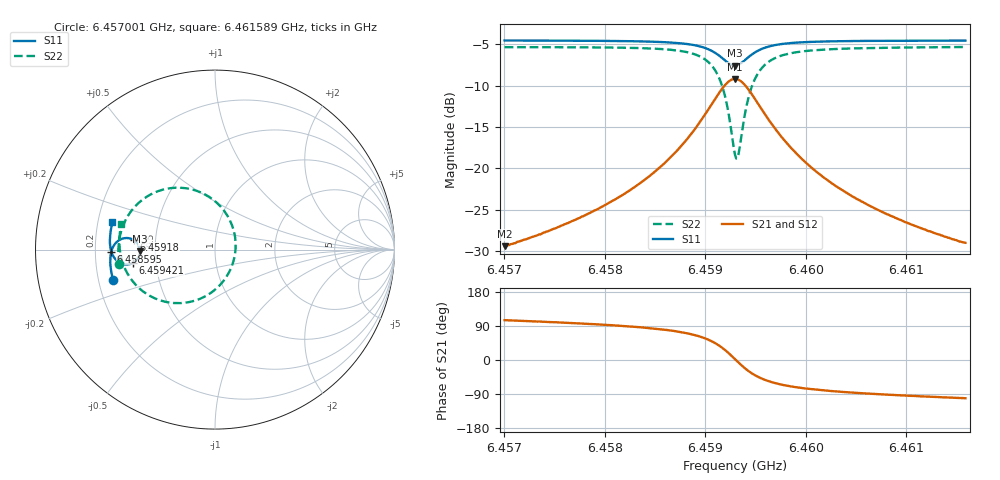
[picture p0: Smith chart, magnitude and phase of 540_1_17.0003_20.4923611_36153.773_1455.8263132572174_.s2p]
#  HZ  S  RI  R  50.00
! Rohde & Schwarz Vector Network Analyzer
! Rohde-Schwarz,ZNB20-2Port,1311601062101988,3.16
! Created: UTC 3/20/2024, 11:16:16 PM
! freq[Hz]  re:S11  im:S11  re:S21  im:S21  re:S12  im:S12  re:S22  im:S22
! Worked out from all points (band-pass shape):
!   401 points, 6.457001 GHz to 6.461589 GHz, reference 50 ohm
!   highest |S21| = -9.20 dB at 6.459295 GHz (marker M1); lowest = -29.4 dB at 6.457001 GHz (marker M2)
!   |S21| within 3 dB of the highest: 6.459066 GHz to 6.459525 GHz (459.1 kHz wide, 0.00711 % of centre)
!   lowest |S11| = -7.6 dB at 6.459295 GHz (marker M3), VSWR 2.43, Z = 20.5 - j0.456 ohm
!   |S11| at or under -10 dB: nowhere
!   |S22| runs from -18.8 to -5.3 dB; largest |S21 - S12| = 0.014
!   S11 on the Smith chart (normalised r, x): 6.457001 GHz: 0.26, -0.14; 6.458595 GHz: 0.27, -0.01; 6.45918 GHz: 0.37, +0.05; 6.459421 GHz: 0.37, -0.07; 6.461589 GHz: 0.26, +0.12
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6.4570014e9  -0.5672 -0.1704  -0.00881 0.0326  -0.00709 0.0325  -0.5332 -0.0827
6.4577697e9  -0.581 -0.103  -0.0055 0.0507  -0.00294 0.05  -0.538 0.00749
6.4581826e9  -0.5838 -0.0618  0.000304 0.0693  0.00354 0.068  -0.5301 0.0729
6.4585381e9  -0.5799 -0.0193  0.0145 0.0991  0.0185 0.0963  -0.5039 0.1528
6.4585954e9  -0.5779 -0.0115  0.0188 0.106  0.023 0.1027  -0.4957 0.1695
6.4588018e9  -0.565 0.0207  0.0465 0.1384  0.0508 0.1334  -0.4438 0.2421
6.4589509e9  -0.5421 0.0469  0.0922 0.1687  0.0953 0.1621  -0.3597 0.3066
6.4590885e9  -0.4982 0.0644  0.1795 0.1852  0.1804 0.1778  -0.1997 0.3448
6.4591803e9  -0.4535 0.054  0.2695 0.1536  0.2699 0.1478  -0.0327 0.294
6.4592491e9  -0.4245 0.0219  0.3301 0.0817  0.3323 0.0763  0.0829 0.1636
6.459295e9  -0.4176 -0.00916  0.3464 0.0135  0.3502 0.00665  0.115 0.0362
6.4593064e9  -0.4181 -0.0173  0.3462 -0.00436  0.3502 -0.0121  0.1146 0.00249
6.4593294e9  -0.4216 -0.033  0.3406 -0.0393  0.3444 -0.0484  0.1032 -0.0637
6.4593752e9  -0.4372 -0.059  0.3118 -0.0992  0.3141 -0.1111  0.0451 -0.1775
6.4594211e9  -0.4594 -0.0754  0.2696 -0.1404  0.2688 -0.1536  -0.0405 -0.2523
6.4595129e9  -0.5027 -0.0823  0.1843 -0.1715  0.1781 -0.1831  -0.2105 -0.2982
6.4596619e9  -0.5467 -0.0617  0.0961 -0.1574  0.0876 -0.1635  -0.3787 -0.2482
6.4598225e9  -0.5683 -0.034  0.0513 -0.1293  0.0436 -0.1321  -0.4594 -0.1757
6.4600633e9  -0.581 0.00161  0.0221 -0.0976  0.0163 -0.0982  -0.5072 -0.0928
6.4604073e9  -0.5855 0.0425  0.00623 -0.0707  0.00204 -0.0703  -0.5288 -0.0134
6.4608317e9  -0.5836 0.0852  -0.00166 -0.052  -0.00443 -0.0512  -0.5326 0.055
6.4615885e9  -0.5712 0.1523  -0.00668 -0.0348  -0.00838 -0.0337  -0.5211 0.1447
